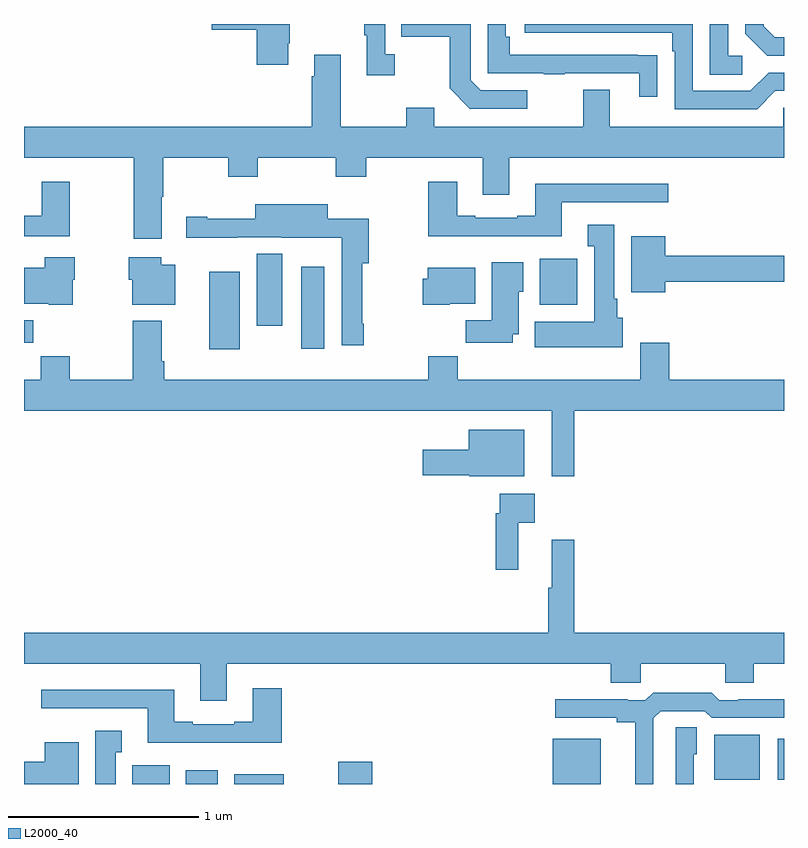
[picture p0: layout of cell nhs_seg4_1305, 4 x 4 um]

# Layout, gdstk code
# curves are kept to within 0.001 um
import gdstk
lib = gdstk.Library(unit=1e-6, precision=1e-09)
def R(c, l, rs):  # rectangles x0, y0, x1, y1
    for r in rs: c.add(gdstk.rectangle(r[:2], r[2:], *l))
def P(c, l, *ps):  # polygons
    for p in ps: c.add(gdstk.Polygon(p, *l))
L2000_40 = (2000, 40)

nhs_seg4_1305 = lib.new_cell('nhs_seg4_1305')
R(nhs_seg4_1305, L2000_40, [(179.57,750.9,179.767,751), (179.852,750.9,180.019,750.973), (180.107,750.9,180.366,750.952), (180.655,750.9,180.833,751.018), (181.784,750.9,182.035,751.138), (182.633,750.923,182.872,751.159), (182.966,750.923,183,751.138), (179.975,753.189,180.136,753.595), (180.458,753.192,180.58,753.622), (179,753.222,179.048,753.34), (180.224,753.312,180.358,753.691), (181.715,753.422,181.912,753.664)])
P(nhs_seg4_1305, L2000_40, [(182.955,754.548),(183,754.548),(183,754.644),(182.919,754.644),(182.823,754.548),(182.52,754.548),(182.52,754.9),(181.635,754.9),(181.635,754.854),(182.411,754.854),(182.411,754.757),(182.424,754.757),(182.424,754.452),(182.859,754.452)],
  [(180.391,754.798),(180.399,754.798),(180.399,754.9),(179.988,754.9),(179.988,754.871),(180.224,754.871),(180.224,754.686),(180.391,754.686)],
  [(181.648,754.551),(181.404,754.551),(181.35,754.605),(181.35,754.9),(180.985,754.9),(180.985,754.834),(181.242,754.834),(181.242,754.561),(181.347,754.455),(181.648,754.455)],
  [(182.333,754.736),(182.231,754.736),(182.231,754.737),(181.556,754.737),(181.556,754.834),(181.536,754.834),(181.536,754.9),(181.44,754.9),(181.44,754.641),(181.735,754.641),(181.735,754.636),(181.847,754.636),(181.847,754.641),(182.237,754.641),(182.237,754.518),(182.333,754.518)],
  [(180.952,754.742),(180.9,754.742),(180.9,754.9),(180.792,754.9),(180.792,754.841),(180.803,754.841),(180.803,754.629),(180.952,754.629)],
  [(183,754.83),(182.95,754.83),(182.893,754.887),(182.893,754.9),(182.796,754.9),(182.796,754.85),(182.912,754.734),(183,754.734)],
  [(182.779,754.734),(182.706,754.734),(182.706,754.9),(182.61,754.9),(182.61,754.633),(182.779,754.633)],
  [(181.415,754.002),(181.555,754.002),(181.555,754.196),(183,754.196),(183,754.458),(182.997,754.458),(182.997,754.36),(182.083,754.36),(182.083,754.555),(181.943,754.555),(181.943,754.36),(181.159,754.36),(181.159,754.459),(181.012,754.459),(181.012,754.36),(180.667,754.36),(180.667,754.738),(180.527,754.738),(180.527,754.625),(180.515,754.625),(180.515,754.36),(179,754.36),(179,754.196),(179.578,754.196),(179.578,753.771),(179.725,753.771),(179.725,753.992),(179.733,753.992),(179.733,754.196),(180.076,754.196),(180.076,754.097),(180.231,754.097),(180.231,754.196),(180.64,754.196),(180.64,754.097),(180.8,754.097),(180.8,754.196),(181.415,754.196)],
  [(179.241,754.069),(179.093,754.069),(179.093,753.892),(179,753.892),(179,753.782),(179.241,753.782)],
  [(181.831,753.963),(182.392,753.963),(182.392,754.06),(181.691,754.06),(181.691,753.892),(181.595,753.892),(181.595,753.879),(181.375,753.879),(181.375,753.892),(181.279,753.892),(181.279,754.069),(181.127,754.069),(181.127,753.782),(181.831,753.782)],
  [(180.788,753.322),(180.781,753.322),(180.781,753.641),(180.815,753.641),(180.815,753.876),(180.598,753.876),(180.598,753.952),(180.218,753.952),(180.218,753.876),(179.965,753.876),(179.965,753.886),(179.853,753.886),(179.853,753.776),(180.122,753.776),(180.122,753.777),(180.354,753.777),(180.354,753.776),(180.672,753.776),(180.672,753.21),(180.788,753.21)],
  [(182.152,753.354),(182.122,753.354),(182.122,753.454),(182.107,753.454),(182.107,753.844),(181.967,753.844),(181.967,753.731),(182,753.731),(182,753.334),(181.688,753.334),(181.688,753.2),(182.152,753.2)],
  [(182.374,753.544),(183,753.544),(183,753.68),(182.374,753.68),(182.374,753.784),(182.195,753.784),(182.195,753.488),(182.374,753.488)],
  [(179.797,753.634),(179.723,753.634),(179.723,753.673),(179.552,753.673),(179.552,753.555),(179.57,753.555),(179.57,753.422),(179.797,753.422)],
  [(179.256,753.555),(179.266,753.555),(179.266,753.673),(179.108,753.673),(179.108,753.616),(179,753.616),(179,753.428),(179.13,753.428),(179.13,753.422),(179.256,753.422)],
  [(181.573,753.266),(181.603,753.266),(181.603,753.492),(181.627,753.492),(181.627,753.646),(181.463,753.646),(181.463,753.34),(181.324,753.34),(181.324,753.222),(181.573,753.222)],
  [(181.242,753.428),(181.375,753.428),(181.375,753.616),(181.124,753.616),(181.124,753.558),(181.099,753.558),(181.099,753.422),(181.242,753.422)],
  [(181.895,752.864),(183,752.864),(183,753.028),(182.396,753.028),(182.396,753.223),(182.243,753.223),(182.243,753.028),(181.283,753.028),(181.283,753.152),(181.127,753.152),(181.127,753.028),(179.738,753.028),(179.738,753.124),(179.725,753.124),(179.725,753.337),(179.573,753.337),(179.573,753.028),(179.241,753.028),(179.241,753.152),(179.089,753.152),(179.089,753.028),(179,753.028),(179,752.864),(181.778,752.864),(181.778,752.52),(181.895,752.52)],
  [(181.633,752.764),(181.34,752.764),(181.34,752.659),(181.098,752.659),(181.098,752.525),(181.344,752.525),(181.344,752.519),(181.633,752.519)],
  [(181.601,752.276),(181.687,752.276),(181.687,752.428),(181.503,752.428),(181.503,752.324),(181.483,752.324),(181.483,752.028),(181.601,752.028)],
  [(180.067,751.532),(182.087,751.532),(182.087,751.434),(182.247,751.434),(182.247,751.532),(182.692,751.532),(182.692,751.434),(182.842,751.434),(182.842,751.532),(183,751.532),(183,751.696),(181.895,751.696),(181.895,752.185),(181.778,752.185),(181.778,751.932),(181.759,751.932),(181.759,751.696),(179,751.696),(179,751.532),(179.927,751.532),(179.927,751.338),(180.067,751.338)],
  [(180.356,751.405),(180.203,751.405),(180.203,751.228),(180.107,751.228),(180.107,751.215),(179.887,751.215),(179.887,751.228),(179.791,751.228),(179.791,751.396),(179.091,751.396),(179.091,751.299),(179.651,751.299),(179.651,751.118),(180.356,751.118)],
  [(182.313,751.245),(182.352,751.284),(182.583,751.284),(182.619,751.248),(183,751.248),(183,751.347),(182.758,751.346),(182.758,751.341),(182.658,751.341),(182.619,751.381),(182.311,751.381),(182.271,751.341),(182.177,751.341),(182.177,751.346),(181.797,751.346),(181.797,751.248),(182.12,751.248),(182.12,751.226),(182.216,751.226),(182.216,750.9),(182.313,750.9)],
  [(182.526,751.056),(182.542,751.056),(182.542,751.199),(182.43,751.199),(182.43,750.9),(182.526,750.9)],
  [(179.482,751.067),(179.515,751.067),(179.515,751.18),(179.375,751.18),(179.375,750.9),(179.482,750.9)],
  [(179.287,751.12),(179.108,751.12),(179.108,751.016),(179,751.016),(179,750.9),(179.287,750.9)])

lib.write_gds('nhs_seg4_1305.gds')
